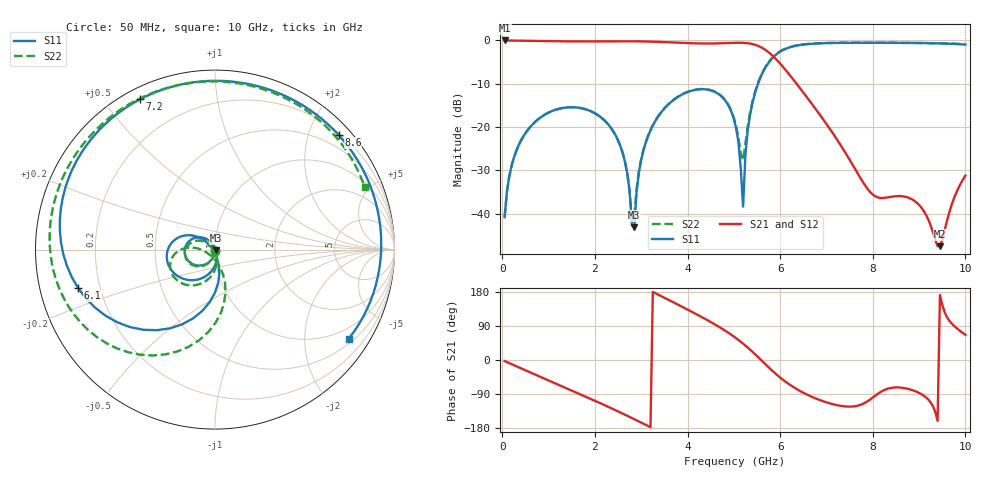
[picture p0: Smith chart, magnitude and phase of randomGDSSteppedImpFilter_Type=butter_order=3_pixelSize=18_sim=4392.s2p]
! freq	dB(S11)	phase(S11)	dB(S12)	phase(S12)
!  dB(S21)	phase(S21)	dB(S22)	phase(S22)
!S-par simulation data
#  GHz  S  DB  R 50
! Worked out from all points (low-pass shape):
!   200 points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, 50 MHz to 10 GHz, reference 50 ohm
!   highest |S21| = 0.00 dB at 50 MHz (marker M1); lowest = -47.5 dB at 9.45 GHz (marker M2)
!   |S21| within 3 dB of the highest: start of sweep to 5.78 GHz
!   lowest |S11| = -43.1 dB at 2.85 GHz (marker M3), VSWR 1.01, Z = 50.6 - j0.381 ohm
!   |S11| at or under -10 dB: start of sweep to 5.522 GHz
!   |S22| runs from -41.3 to -0.5 dB; largest |S21 - S12| = 0
!   S11 on the Smith chart (normalised r, x): 50 MHz: 1.00, -0.02; 6.1 GHz: 0.12, -0.13; 7.2 GHz: 0.05, +0.62; 8.6 GHz: 0.23, +2.53; 10 GHz: 0.64, -3.20
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0.05  -40.80 -91.8  -0.00 -2.8  -0.00 -2.8  -40.80 -91.6
0.2  -28.96 -101.2  -0.02 -10.9  -0.02 -10.9  -28.96 -100.4
0.55  -20.66 -121.3  -0.08 -29.8  -0.08 -29.8  -20.66 -119.2
1.75  -15.74 171.8  -0.23 -93.9  -0.23 -93.9  -15.75 179.2
2.5  -23.05 126.7  -0.19 -135.7  -0.19 -135.7  -23.10 142.3
2.7  -30.75 110.2  -0.19 -147.3  -0.19 -147.3  -30.82 138.9
2.85  -43.14 -32.7  -0.20 -156.2  -0.20 -156.2  -40.63 -110.2
3  -27.52 -75.8  -0.22 -165.1  -0.22 -165.1  -27.27 -79.4
3.4  -17.05 -104.6  -0.34 170.5  -0.34 170.5  -16.97 -96.5
4.45  -11.39 -174.6  -0.71 103.7  -0.71 103.7  -11.33 -156.4
5.05  -20.28 141.0  -0.53 57.5  -0.53 57.5  -19.80 175.6
5.2  -38.35 -121.2  -0.55 43.2  -0.55 43.2  -27.60 -118.6
5.3  -20.77 -76.4  -0.64 32.9  -0.64 32.9  -19.77 -74.1
5.45  -12.40 -90.1  -0.97 16.2  -0.97 16.2  -12.14 -76.3
5.75  -5.14 -125.8  -2.73 -19.3  -2.73 -19.3  -5.03 -105.1
6.1  -2.02 -164.4  -6.59 -55.9  -6.59 -55.9  -1.95 -139.2
6.7  -0.76 147.2  -14.87 -98.0  -14.87 -98.0  -0.72 178.9
7.2  -0.58 116.5  -22.42 -118.5  -22.42 -118.5  -0.55 153.3
8.35  -0.53 55.6  -36.17 -74.8  -36.17 -74.8  -0.55 103.1
8.6  -0.54 42.8  -35.92 -72.7  -35.92 -72.7  -0.56 92.3
9.45  -0.68 -1.3  -47.48 171.2  -47.48 171.2  -0.67 53.0
10  -0.96 -33.6  -31.20 66.3  -31.20 66.3  -0.88 22.5
